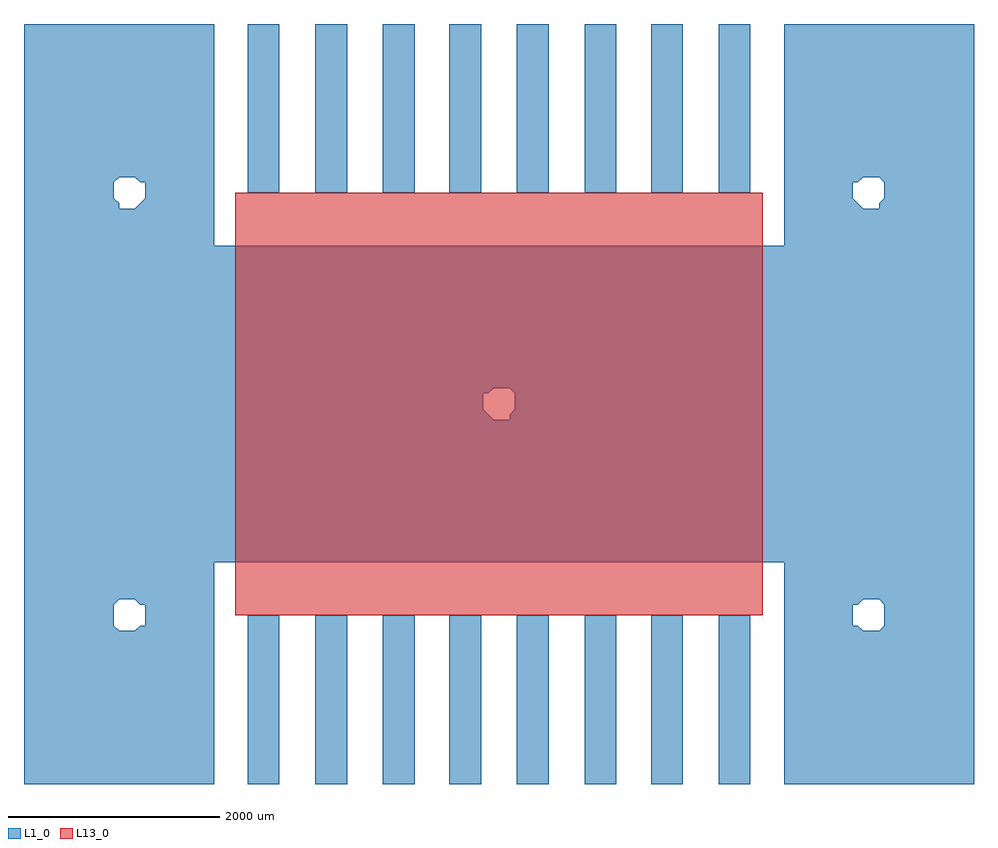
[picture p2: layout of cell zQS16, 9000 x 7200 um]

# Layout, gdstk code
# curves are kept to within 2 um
import gdstk
lib = gdstk.Library(unit=1e-6, precision=1e-09)
def R(c, l, rs):  # rectangles x0, y0, x1, y1
    for r in rs: c.add(gdstk.rectangle(r[:2], r[2:], *l))
def A(c, l, x, y, w, h, nx, ny, dx, dy):  # array of equal rectangles
    R(c, l, [(x+i*dx, y+j*dy, x+i*dx+w, y+j*dy+h) for i in range(nx) for j in range(ny)])
def P(c, l, *ps):  # polygons
    for p in ps: c.add(gdstk.Polygon(p, *l))
L1_0 = (1, 0)
L13_0 = (13, 0)
L128_0 = (128, 0)

zqs16 = lib.new_cell('zQS16')
A(zqs16, L1_0, -2380, -3600, 300, 1600, 3, 2, 640, 5600)
A(zqs16, L1_0, -470, -3600, 300, 1600, 3, 2, 640, 5600)
R(zqs16, L1_0, [(1440,-3600,1740,-2000), (2080,-3600,2380,-2000), (1440,2000,1740,3600), (2080,2000,2380,3600)])
P(zqs16, L1_0, [(4500,-3600),(4500,3600),(2700,3600),(2700,1500),(-2700,1500),(-2700,3600),(-4500,3600),(-4500,-3600),(-3500,-3600),(-3500,-2150),(-3600,-2150),(-3650,-2100),(-3650,-1900),(-3600,-1850),(-3500,-1850),(-3500,1850),(-3600,1850),(-3600,1900),(-3650,1950),(-3650,2100),(-3600,2150),(-3450,2150),(-3400,2100),(-3350,2100),(-3350,1950),(-3450,1850),(-3500,1850),(-3500,-1850),(-3450,-1850),(-3400,-1900),(-3350,-1900),(-3350,-2100),(-3400,-2100),(-3450,-2150),(-3500,-2150),(-3500,-3600),(-2700,-3600),(-2700,-1500),(0,-1500),(0,-150),(-50,-150),(-150,-50),(-150,100),(-100,100),(-50,150),(100,150),(150,100),(150,-50),(100,-100),(100,-150),(0,-150),(0,-1500),(2700,-1500),(2700,-3600),(3500,-3600),(3500,-2150),(3450,-2150),(3400,-2100),(3350,-2100),(3350,-1900),(3400,-1900),(3450,-1850),(3500,-1850),(3500,1850),(3450,1850),(3350,1950),(3350,2100),(3400,2100),(3450,2150),(3600,2150),(3650,2100),(3650,1950),(3600,1900),(3600,1850),(3500,1850),(3500,-1850),(3600,-1850),(3650,-1900),(3650,-2100),(3600,-2150),(3500,-2150),(3500,-3600)])
R(zqs16, L13_0, [(-2500,-2000,2500,2000)])
zqs16.add(gdstk.FlexPath([(-800,-2000),(-1100,-2000)], 0, ends="round", simple_path=True, layer=13, datatype=0))  # L13_0
zqs16.add(gdstk.FlexPath([(150,2000),(1100,2000)], 0, ends="round", simple_path=True, layer=128, datatype=0))  # L128_0
zqs16.add(gdstk.FlexPath([(1100,-2000),(800,-2000)], 0, ends="round", simple_path=True, layer=128, datatype=0))  # L128_0

lib.write_gds('zQS16.gds')
